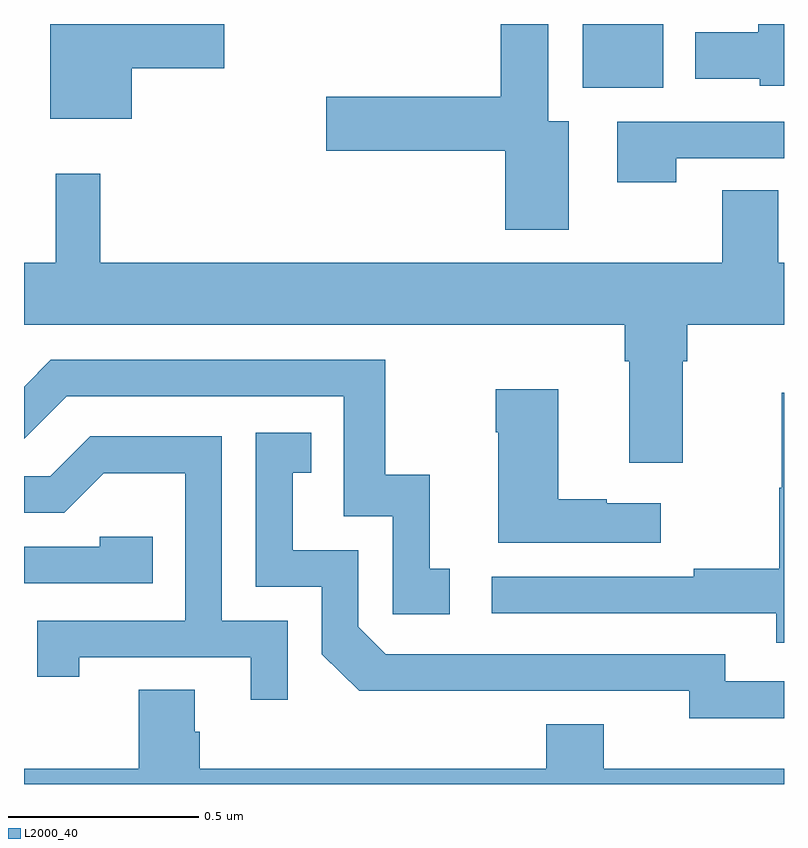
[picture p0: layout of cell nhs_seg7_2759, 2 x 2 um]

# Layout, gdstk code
import gdstk
lib = gdstk.Library(unit=1e-6, precision=1e-09)
def R(c, l, rs):  # rectangles x0, y0, x1, y1
    for r in rs: c.add(gdstk.rectangle(r[:2], r[2:], *l))
def P(c, l, *ps):  # polygons
    for p in ps: c.add(gdstk.Polygon(p, *l))
L2000_40 = (2000, 40)

nhs_seg7_2759 = lib.new_cell('nhs_seg7_2759')
R(nhs_seg7_2759, L2000_40, [(150.47,1075.832,150.682,1076)])
P(nhs_seg7_2759, L2000_40, [(150.433,1075.744),(150.379,1075.744),(150.379,1076),(150.254,1076),(150.254,1075.808),(149.796,1075.808),(149.796,1075.666),(150.266,1075.666),(150.266,1075.458),(150.433,1075.458)],
  [(149.284,1075.883),(149.527,1075.883),(149.527,1076),(149.069,1076),(149.069,1075.751),(149.284,1075.751)],
  [(151,1076),(150.932,1076),(150.932,1075.978),(150.767,1075.978),(150.767,1075.856),(150.936,1075.856),(150.936,1075.838),(151,1075.838)],
  [(150.717,1075.647),(151,1075.647),(151,1075.743),(150.561,1075.743),(150.561,1075.584),(150.717,1075.584)],
  [(150.733,1075.112),(150.746,1075.112),(150.746,1075.208),(151,1075.208),(151,1075.372),(150.985,1075.372),(150.985,1075.562),(150.838,1075.562),(150.838,1075.372),(149.201,1075.372),(149.201,1075.606),(149.084,1075.606),(149.084,1075.372),(149,1075.372),(149,1075.208),(150.581,1075.208),(150.581,1075.112),(150.593,1075.112),(150.593,1074.846),(150.733,1074.846)],
  [(150.121,1074.567),(150.068,1074.567),(150.068,1074.814),(149.95,1074.814),(149.95,1075.116),(149.07,1075.116),(149,1075.046),(149,1074.908),(149.112,1075.02),(149.841,1075.02),(149.841,1074.705),(149.97,1074.705),(149.97,1074.447),(150.121,1074.447)],
  [(150.676,1074.739),(150.533,1074.739),(150.533,1074.749),(150.406,1074.749),(150.406,1075.039),(150.241,1075.039),(150.241,1074.926),(150.248,1074.926),(150.248,1074.635),(150.676,1074.635)],
  [(151,1075.03),(150.994,1075.03),(150.994,1074.78),(150.987,1074.78),(150.987,1074.566),(150.763,1074.566),(150.763,1074.546),(150.231,1074.546),(150.231,1074.45),(150.979,1074.45),(150.979,1074.372),(151,1074.372)],
  [(151,1074.27),(150.846,1074.27),(150.846,1074.342),(149.952,1074.342),(149.88,1074.414),(149.88,1074.615),(149.707,1074.615),(149.707,1074.819),(149.756,1074.819),(149.756,1074.925),(149.61,1074.925),(149.61,1074.519),(149.784,1074.519),(149.784,1074.342),(149.882,1074.245),(150.29,1074.245),(150.29,1074.246),(150.75,1074.246),(150.75,1074.173),(151,1074.173)],
  [(149.694,1074.429),(149.52,1074.429),(149.52,1074.915),(149.174,1074.915),(149.069,1074.81),(149,1074.81),(149,1074.714),(149.106,1074.714),(149.21,1074.818),(149.424,1074.818),(149.424,1074.429),(149.035,1074.429),(149.035,1074.282),(149.146,1074.282),(149.146,1074.333),(149.597,1074.333),(149.597,1074.222),(149.694,1074.222)],
  [(149.339,1074.651),(149.199,1074.651),(149.199,1074.624),(149,1074.624),(149,1074.528),(149.339,1074.528)],
  [(151,1074.04),(150.526,1074.04),(150.526,1074.157),(150.374,1074.157),(150.374,1074.04),(149.462,1074.04),(149.462,1074.138),(149.449,1074.138),(149.449,1074.248),(149.302,1074.248),(149.302,1074.04),(149,1074.04),(149,1074),(151,1074)])

lib.write_gds('nhs_seg7_2759.gds')
